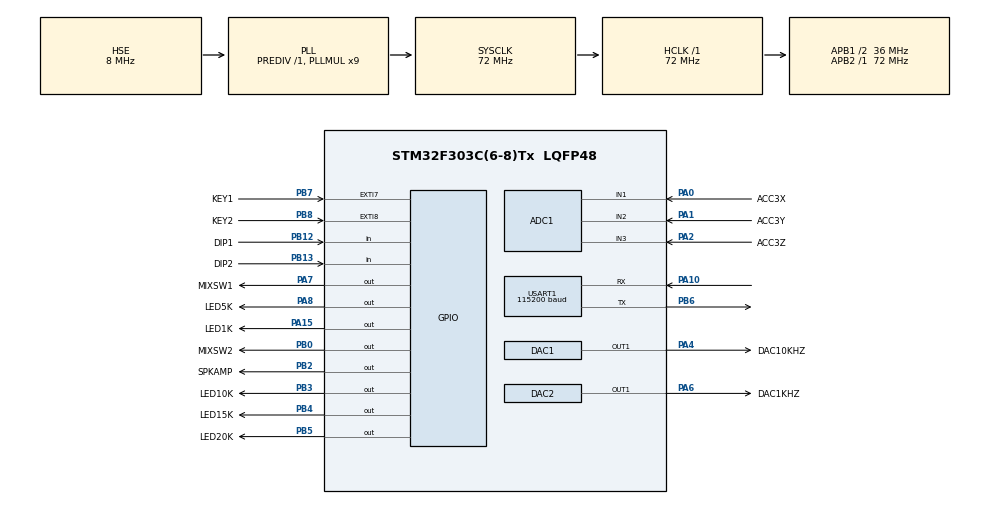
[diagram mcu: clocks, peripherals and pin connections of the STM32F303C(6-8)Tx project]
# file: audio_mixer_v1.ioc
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ADC1.Channel-0\#ChannelRegularConversion=ADC_CHANNEL_1
ADC1.Channel-1\#ChannelRegularConversion=ADC_CHANNEL_2
ADC1.Channel-2\#ChannelRegularConversion=ADC_CHANNEL_3
ADC1.ContinuousConvMode=ENABLE
ADC1.DMAContinuousRequests=DISABLE
ADC1.EOCSelection=ADC_EOC_SINGLE_CONV
ADC1.ExternalTrigConv=ADC_SOFTWARE_START
ADC1.NbrOfConversion=3
ADC1.NbrOfConversionFlag=1
ADC1.Offset-0\#ChannelRegularConversion=0
ADC1.Offset-1\#ChannelRegularConversion=0
ADC1.Offset-2\#ChannelRegularConversion=0
ADC1.OffsetNumber-0\#ChannelRegularConversion=ADC_OFFSET_NONE
ADC1.OffsetNumber-1\#ChannelRegularConversion=ADC_OFFSET_NONE
ADC1.OffsetNumber-2\#ChannelRegularConversion=ADC_OFFSET_NONE
ADC1.Rank-0\#ChannelRegularConversion=1
ADC1.Rank-1\#ChannelRegularConversion=2
ADC1.Rank-2\#ChannelRegularConversion=3
ADC1.SamplingTime-0\#ChannelRegularConversion=ADC_SAMPLETIME_1CYCLE_5
ADC1.SamplingTime-1\#ChannelRegularConversion=ADC_SAMPLETIME_1CYCLE_5
ADC1.SamplingTime-2\#ChannelRegularConversion=ADC_SAMPLETIME_1CYCLE_5
ADC1.SamplingTimeOPAMP-1\#ChannelRegularConversion=ADC_SAMPLETIME_61CYCLES_5
ADC1.SamplingTimeOPAMP-2\#ChannelRegularConversion=ADC_SAMPLETIME_61CYCLES_5
ADC1.SubFamily=STM32F303x8
ADC1.master=1
DAC1.DAC_Trigger=DAC_TRIGGER_T2_TRGO
DAC2.DAC_Trigger=DAC_TRIGGER_T2_TRGO
Dma.ADC1.2.Direction=DMA_PERIPH_TO_MEMORY
Dma.ADC1.2.Instance=DMA1_Channel1
Dma.ADC1.2.MemDataAlignment=DMA_MDATAALIGN_HALFWORD
Dma.ADC1.2.MemInc=DMA_MINC_ENABLE
Dma.ADC1.2.Mode=DMA_NORMAL
Dma.ADC1.2.PeriphDataAlignment=DMA_PDATAALIGN_HALFWORD
Dma.ADC1.2.PeriphInc=DMA_PINC_DISABLE
Dma.ADC1.2.Priority=DMA_PRIORITY_LOW
Dma.DAC1_CH1.0.Direction=DMA_MEMORY_TO_PERIPH
Dma.DAC1_CH1.0.Instance=DMA1_Channel3
Dma.DAC1_CH1.0.MemDataAlignment=DMA_MDATAALIGN_HALFWORD
Dma.DAC1_CH1.0.MemInc=DMA_MINC_ENABLE
Dma.DAC1_CH1.0.Mode=DMA_CIRCULAR
Dma.DAC1_CH1.0.PeriphDataAlignment=DMA_PDATAALIGN_HALFWORD
Dma.DAC1_CH1.0.PeriphInc=DMA_PINC_DISABLE
Dma.DAC1_CH1.0.Priority=DMA_PRIORITY_LOW
Dma.DAC2_CH1.1.Direction=DMA_MEMORY_TO_PERIPH
Dma.DAC2_CH1.1.Instance=DMA1_Channel5
Dma.DAC2_CH1.1.MemDataAlignment=DMA_MDATAALIGN_HALFWORD
Dma.DAC2_CH1.1.MemInc=DMA_MINC_ENABLE
Dma.DAC2_CH1.1.Mode=DMA_CIRCULAR
Dma.DAC2_CH1.1.PeriphDataAlignment=DMA_PDATAALIGN_HALFWORD
Dma.DAC2_CH1.1.PeriphInc=DMA_PINC_DISABLE
Dma.DAC2_CH1.1.Priority=DMA_PRIORITY_LOW
Dma.Request0=DAC1_CH1
Dma.Request1=DAC2_CH1
Dma.Request2=ADC1
IWDG.Prescaler=IWDG_PRESCALER_32
IWDG.Reload=2500
IWDG.Window=2500
Mcu.Family=STM32F3
Mcu.Name=STM32F303C(6-8)Tx
Mcu.Package=LQFP48
NVIC.DMA1_Channel1_IRQn=true\:0\:0\:false\:false\:true\:false\:true
NVIC.DMA1_Channel3_IRQn=true\:0\:0\:false\:false\:true\:false\:true
NVIC.DMA1_Channel5_IRQn=true\:0\:0\:false\:false\:true\:false\:true
NVIC.EXTI9_5_IRQn=true\:0\:0\:false\:false\:true\:true\:true
NVIC.PriorityGroup=NVIC_PRIORITYGROUP_4
NVIC.TIM3_IRQn=true\:0\:0\:false\:false\:true\:true\:true
NVIC.USART1_IRQn=true\:0\:0\:false\:false\:true\:true\:true
PA0.GPIO_Label=ACC3X
PA0.Mode=IN1-Single-Ended
PA0.Signal=ADC1_IN1
PA1.GPIO_Label=ACC3Y
PA1.Mode=IN2-Single-Ended
PA1.Signal=ADC1_IN2
PA10.Mode=Asynchronous
PA10.Signal=USART1_RX
PA13.Mode=Serial_Wire
PA13.Signal=SYS_JTMS-SWDIO
PA14.Mode=Serial_Wire
PA14.Signal=SYS_JTCK-SWCLK
PA15.GPIO_Label=LED1K
PA15.Signal=GPIO_Output
PA2.GPIO_Label=ACC3Z
PA2.Mode=IN3-Single-Ended
PA2.Signal=ADC1_IN3
PA4.GPIO_Label=DAC10KHZ
PA4.Signal=COMP_DAC11_group
PA6.GPIO_Label=DAC1KHZ
PA6.Signal=COMP_DAC21_group
PA7.GPIO_Label=MIXSW1
PA7.Signal=GPIO_Output
PA8.GPIO_Label=LED5K
PA8.Signal=GPIO_Output
PB0.GPIO_Label=MIXSW2
PB0.Signal=GPIO_Output
PB12.GPIO_Label=DIP1
PB12.Signal=GPIO_Input
PB13.GPIO_Label=DIP2
PB13.Signal=GPIO_Input
PB2.GPIO_Label=SPKAMP
PB2.PinState=GPIO_PIN_SET
PB2.Signal=GPIO_Output
PB3.GPIO_Label=LED10K
PB3.Signal=GPIO_Output
PB4.GPIO_Label=LED15K
PB4.PinState=GPIO_PIN_RESET
PB4.Signal=GPIO_Output
PB5.GPIO_Label=LED20K
PB5.Signal=GPIO_Output
PB6.Mode=Asynchronous
PB6.Signal=USART1_TX
PB7.GPIO_Label=KEY1
PB7.GPIO_ModeDefaultEXTI=GPIO_MODE_IT_RISING_FALLING
PB7.GPIO_PuPd=GPIO_PULLDOWN
PB7.Signal=GPXTI7
PB8.GPIO_Label=KEY2
PB8.GPIO_ModeDefaultEXTI=GPIO_MODE_IT_RISING_FALLING
PB8.GPIO_PuPd=GPIO_PULLDOWN
PB8.Signal=GPXTI8
PF0\ /\ OSC_IN.Mode=HSE-External-Oscillator
PF0\ /\ OSC_IN.Signal=RCC_OSC_IN
PF1\ /\ OSC_OUT.Mode=HSE-External-Oscillator
PF1\ /\ OSC_OUT.Signal=RCC_OSC_OUT
ProjectManager.HeapSize=0x200
ProjectManager.StackSize=0x400
ProjectManager.TargetToolchain=STM32CubeIDE
RCC.AHBFreq_Value=72000000
RCC.APB1CLKDivider=RCC_HCLK_DIV2
RCC.APB1Freq_Value=36000000
RCC.APB1TimFreq_Value=72000000
RCC.APB2Freq_Value=72000000
RCC.APB2TimFreq_Value=72000000
RCC.CortexFreq_Value=72000000
RCC.HCLKFreq_Value=72000000
RCC.HSE_VALUE=8000000
RCC.HSI_VALUE=8000000
RCC.LSE_VALUE=32768
RCC.PLLMUL=RCC_PLL_MUL9
RCC.PLLSourceVirtual=RCC_PLLSOURCE_HSE
RCC.SYSCLKFreq_VALUE=72000000
RCC.SYSCLKSourceVirtual=RCC_SYSCLKSOURCE_PLLCLK
SH.COMP_DAC11_group.0=DAC1_OUT1,DAC_OUT1
SH.COMP_DAC21_group.0=DAC2_OUT1,Switch_Enable_OUT1
TIM2.Period=72-1
TIM2.TIM_MasterOutputTrigger=TIM_TRGO_UPDATE
TIM3.Period=1000-1
TIM3.Prescaler=720-1
TIM3.TIM_MasterOutputTrigger=TIM_TRGO_UPDATE
USART1.BaudRate=115200
USART1.VirtualMode-Asynchronous=VM_ASYNC
VP_IWDG_VS_IWDG.Mode=IWDG_Activate
VP_TIM2_VS_ClockSourceINT.Mode=Internal
VP_TIM3_VS_ClockSourceINT.Mode=Internal
board=custom

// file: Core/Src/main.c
/* USER CODE BEGIN Header */
/**
  ******************************************************************************
  * @file           : main.c
  * @brief          : Main program body
  ******************************************************************************
  * @attention
  *
  * <h2><center>&copy; Copyright (c) 2021 STMicroelectronics.
  * All rights reserved.</center></h2>
  *
  * This software component is licensed by ST under BSD 3-Clause license,
  * the "License"; You may not use this file except in compliance with the
  * License. You may obtain a copy of the License at:
  *                        opensource.org/licenses/BSD-3-Clause
  *
  ******************************************************************************
  */
/* USER CODE END Header */
#include "main.h"

/* USER CODE BEGIN Includes */
#include <stdbool.h>
#include <stdlib.h>
#include "waves.h"

/* USER CODE END Includes */

/* USER CODE BEGIN PTD */
typedef enum {
  TASK_INIT = 0,
  TASK_IDLE,

}task_t;
typedef struct {
  task_t task;
  uint8_t dipSw;
  bool txUart;
  bool adcCplt;
}main_app_t;

enum {
  DIPSW_5K = 0b00,
  DIPSW_10K = 0b10,
  DIPSW_15K = 0b01,
  DIPSW_20K = 0b11,
};

/* USER CODE END PTD */

ADC_HandleTypeDef hadc1;
DMA_HandleTypeDef hdma_adc1;

DAC_HandleTypeDef hdac1;
DAC_HandleTypeDef hdac2;
DMA_HandleTypeDef hdma_dac1_ch1;
DMA_HandleTypeDef hdma_dac2_ch1;

IWDG_HandleTypeDef hiwdg;

TIM_HandleTypeDef htim2;
TIM_HandleTypeDef htim3;

UART_HandleTypeDef huart1;

/* USER CODE BEGIN PV */
static main_app_t app = {
  .task = TASK_INIT,
  .dipSw = 0x00,
  .txUart = false,
  .adcCplt = false,
};

uint16_t ADC_DEFAULT[3] = {0,};
uint16_t XYZ_OFFSET[3] = {0, 0, 707};
uint16_t XYZ_GAIN[3] = {32, 32, 32};
uint16_t adcValue[3];
int16_t adcBuf[3];
uint8_t tx[32];

/* USER CODE END PV */

void SystemClock_Config(void);
static void MX_GPIO_Init(void);
static void MX_DMA_Init(void);
static void MX_DAC1_Init(void);
static void MX_DAC2_Init(void);
static void MX_TIM2_Init(void);
static void MX_IWDG_Init(void);
static void MX_USART1_UART_Init(void);
static void MX_ADC1_Init(void);
static void MX_TIM3_Init(void);

/* USER CODE BEGIN 0 */
void ledIndicate(void)
{
  HAL_Delay(200);
  for (int i = 0; i < 4; i++) {
    HAL_GPIO_TogglePin(LED1K_GPIO_Port, LED1K_Pin);
    HAL_GPIO_TogglePin(LED5K_GPIO_Port, LED5K_Pin);
    HAL_GPIO_TogglePin(LED10K_GPIO_Port, LED10K_Pin);
    HAL_GPIO_TogglePin(LED15K_GPIO_Port, LED15K_Pin);
    HAL_GPIO_TogglePin(LED20K_GPIO_Port, LED20K_Pin);
    HAL_Delay(200);
  }
}

uint8_t getDipSw(void)
{
  uint8_t ret;
  ret = HAL_GPIO_ReadPin(DIP1_GPIO_Port, DIP1_Pin) != GPIO_PIN_RESET ? 0x02 : 0x00;
  ret |= HAL_GPIO_ReadPin(DIP2_GPIO_Port, DIP2_Pin) != GPIO_PIN_RESET ? 0x01 : 0x00;
  return ret;
}

void updateDipSw(void)
{
  HAL_DAC_Stop_DMA(&hdac1, DAC1_CHANNEL_1);
  switch (app.dipSw) {
    case DIPSW_5K:
      HAL_DAC_Start_DMA(&hdac1, DAC1_CHANNEL_1, (uint32_t*)sine_5khz, SINE_5KHZ_NUM, DAC_ALIGN_12B_R);
    break;
    case DIPSW_10K:
      HAL_DAC_Start_DMA(&hdac1, DAC1_CHANNEL_1, (uint32_t*)sine_10khz, SINE_10KHZ_NUM, DAC_ALIGN_12B_R);
    break;
    case DIPSW_15K:
      HAL_DAC_Start_DMA(&hdac1, DAC1_CHANNEL_1, (uint32_t*)sine_15khz, SINE_15KHZ_NUM, DAC_ALIGN_12B_R);
    break;
    case DIPSW_20K:
      HAL_DAC_Start_DMA(&hdac1, DAC1_CHANNEL_1, (uint32_t*)sine_20khz, SINE_20KHZ_NUM, DAC_ALIGN_12B_R);
    break;
  }
}

void adcDataProcessing(int16_t* buf)
{
  static int16_t prvBuf[3] = {0,};

  buf[0] -= 1862;
  buf[1] -= 1862;
  buf[2] -= 1862;

  for (int i = 0; i < 3; i++) {
    // buf[i] = buf[i] - ADC_DEFAULT[i];
    // buf[i] = buf[i] * XYZ_GAIN[i];

    // buf[i] = (15 * prvBuf[i] + buf[i]) >> 4;
    buf[i] = prvBuf[i] + (0.1 * (buf[i] - prvBuf[i]));
    prvBuf[i] = buf[i];
  }
}

#define SMPL 256
void updateADCDefault(void)
{
  uint32_t tmp[3] = {0,};
  uint16_t xymean;
  ADC_DEFAULT[0] = 0;
  ADC_DEFAULT[1] = 0;
  ADC_DEFAULT[2] = 0;
  for (int i = 0; i < SMPL; i++) {
    HAL_ADC_Start_DMA(&hadc1, (uint32_t*)adcValue, 3);
    while (app.adcCplt != true);
    app.adcCplt = false;

    tmp[0] += adcBuf[0];
    tmp[1] += adcBuf[1];
    tmp[2] += adcBuf[2];
  }
  ADC_DEFAULT[0] = (uint16_t)(tmp[0] / SMPL);
  ADC_DEFAULT[1] = (uint16_t)(tmp[1] / SMPL);
  ADC_DEFAULT[2] = (uint16_t)(tmp[2] / SMPL);

  xymean = (uint16_t)((ADC_DEFAULT[0] + ADC_DEFAULT[1]) / 2);
  ADC_DEFAULT[2] -= abs(ADC_DEFAULT[2]-xymean);

  // ADC_DEFAULT[0] += XYZ_OFFSET[0];
  // ADC_DEFAULT[1] += XYZ_OFFSET[1];
  // ADC_DEFAULT[2] += XYZ_OFFSET[2];
}

int intBuf2asciiBuf(int16_t* iBuf, uint8_t* aBuf)
{
  int i = 0;
  int a = 0;
  int16_t iTmp;

  for (i = 1; i < 2; i++) {
    if (iBuf[i] < 0) {
      aBuf[a++] = '-';
      iTmp = -1 * iBuf[i];
    } else {
      aBuf[a++] = ' ';
      iTmp = iBuf[i];
    }
    aBuf[a++] = ((iTmp % 10000) / 1000) + '0';
    aBuf[a++] = ((iTmp % 1000) / 100) + '0';
    aBuf[a++] = ((iTmp % 100) / 10) + '0';
    aBuf[a++] = (iTmp % 10) + '0';
    aBuf[a++] = ',';
  }
  aBuf[a++] = '\n';
  // aBuf[a++] = '\r';

  return a;
}

/* USER CODE END 0 */

int main(void)
{
  /* USER CODE BEGIN 1 */
  int len = 0;

  /* USER CODE END 1 */

  /* MCU Configuration--------------------------------------------------------*/

  /* Reset of all peripherals, Initializes the Flash interface and the Systick. */
  HAL_Init();

  /* Configure the system clock */
  SystemClock_Config();

  /* Initialize all configured peripherals */
  MX_GPIO_Init();
  MX_DMA_Init();
  MX_DAC1_Init();
  MX_DAC2_Init();
  MX_TIM2_Init();
  MX_IWDG_Init();
  MX_USART1_UART_Init();
  MX_ADC1_Init();
  MX_TIM3_Init();

  /* Infinite loop */
  while (1)
  {

    /* USER CODE BEGIN 3 */
    switch (app.task) {
      case TASK_INIT:
        ledIndicate();

        app.dipSw = getDipSw();
        updateDipSw();
        // HAL_DAC_Start(&hdac1, DAC1_CHANNEL_2);
        HAL_DAC_Start_DMA(&hdac2, DAC2_CHANNEL_1, (uint32_t*)sine_1khz, SINE_1KHZ_NUM, DAC_ALIGN_12B_R);

        // HAL_ADC_Start_IT(&hadc1);
        updateADCDefault();
        HAL_ADC_Start_DMA(&hadc1, (uint32_t*)adcValue, 3);

        HAL_TIM_Base_Start(&htim2);
        HAL_TIM_Base_Start_IT(&htim3);
        app.task = TASK_IDLE;
      break;
      case TASK_IDLE:
        if (app.dipSw != getDipSw()) {
          app.dipSw = getDipSw();
          updateDipSw();
        }
        if (app.txUart) {
          adcDataProcessing(adcBuf);
          len = intBuf2asciiBuf(adcBuf, tx);

          HAL_UART_Transmit(&huart1, tx, len, 100);
          app.txUart = false;

          HAL_ADC_Start_DMA(&hadc1, (uint32_t*)adcValue, 3);
        }
        HAL_Delay(1);
      break;
    }
    HAL_IWDG_Refresh(&hiwdg);
  }
  /* USER CODE END 3 */
}

void SystemClock_Config(void)
{
  RCC_OscInitTypeDef RCC_OscInitStruct = {0};
  RCC_ClkInitTypeDef RCC_ClkInitStruct = {0};
  RCC_PeriphCLKInitTypeDef PeriphClkInit = {0};

  /** Initializes the RCC Oscillators according to the specified parameters
  * in the RCC_OscInitTypeDef structure.
  */
  RCC_OscInitStruct.OscillatorType = RCC_OSCILLATORTYPE_LSI|RCC_OSCILLATORTYPE_HSE;
  RCC_OscInitStruct.HSEState = RCC_HSE_ON;
  RCC_OscInitStruct.HSEPredivValue = RCC_HSE_PREDIV_DIV1;
  RCC_OscInitStruct.HSIState = RCC_HSI_ON;
  RCC_OscInitStruct.LSIState = RCC_LSI_ON;
  RCC_OscInitStruct.PLL.PLLState = RCC_PLL_ON;
  RCC_OscInitStruct.PLL.PLLSource = RCC_PLLSOURCE_HSE;
  RCC_OscInitStruct.PLL.PLLMUL = RCC_PLL_MUL9;
  if (HAL_RCC_OscConfig(&RCC_OscInitStruct) != HAL_OK)
  {
    Error_Handler();
  }
  /** Initializes the CPU, AHB and APB buses clocks
  */
  RCC_ClkInitStruct.ClockType = RCC_CLOCKTYPE_HCLK|RCC_CLOCKTYPE_SYSCLK
                              |RCC_CLOCKTYPE_PCLK1|RCC_CLOCKTYPE_PCLK2;
  RCC_ClkInitStruct.SYSCLKSource = RCC_SYSCLKSOURCE_PLLCLK;
  RCC_ClkInitStruct.AHBCLKDivider = RCC_SYSCLK_DIV1;
  RCC_ClkInitStruct.APB1CLKDivider = RCC_HCLK_DIV2;
  RCC_ClkInitStruct.APB2CLKDivider = RCC_HCLK_DIV1;

  if (HAL_RCC_ClockConfig(&RCC_ClkInitStruct, FLASH_LATENCY_2) != HAL_OK)
  {
    Error_Handler();
  }
  PeriphClkInit.PeriphClockSelection = RCC_PERIPHCLK_USART1|RCC_PERIPHCLK_ADC12;
  PeriphClkInit.Usart1ClockSelection = RCC_USART1CLKSOURCE_PCLK1;
  PeriphClkInit.Adc12ClockSelection = RCC_ADC12PLLCLK_DIV1;
  if (HAL_RCCEx_PeriphCLKConfig(&PeriphClkInit) != HAL_OK)
  {
    Error_Handler();
  }
}

static void MX_ADC1_Init(void)
{

  ADC_MultiModeTypeDef multimode = {0};
  ADC_ChannelConfTypeDef sConfig = {0};

  /** Common config
  */
  hadc1.Instance = ADC1;
  hadc1.Init.ClockPrescaler = ADC_CLOCK_ASYNC_DIV1;
  hadc1.Init.Resolution = ADC_RESOLUTION_12B;
  hadc1.Init.ScanConvMode = ADC_SCAN_ENABLE;
  hadc1.Init.ContinuousConvMode = ENABLE;
  hadc1.Init.DiscontinuousConvMode = DISABLE;
  hadc1.Init.ExternalTrigConvEdge = ADC_EXTERNALTRIGCONVEDGE_NONE;
  hadc1.Init.ExternalTrigConv = ADC_SOFTWARE_START;
  hadc1.Init.DataAlign = ADC_DATAALIGN_RIGHT;
  hadc1.Init.NbrOfConversion = 3;
  hadc1.Init.DMAContinuousRequests = DISABLE;
  hadc1.Init.EOCSelection = ADC_EOC_SINGLE_CONV;
  hadc1.Init.LowPowerAutoWait = DISABLE;
  hadc1.Init.Overrun = ADC_OVR_DATA_OVERWRITTEN;
  if (HAL_ADC_Init(&hadc1) != HAL_OK)
  {
    Error_Handler();
  }
  /** Configure the ADC multi-mode
  */
  multimode.Mode = ADC_MODE_INDEPENDENT;
  if (HAL_ADCEx_MultiModeConfigChannel(&hadc1, &multimode) != HAL_OK)
  {
    Error_Handler();
  }
  /** Configure Regular Channel
  */
  sConfig.Channel = ADC_CHANNEL_1;
  sConfig.Rank = ADC_REGULAR_RANK_1;
  sConfig.SingleDiff = ADC_SINGLE_ENDED;
  sConfig.SamplingTime = ADC_SAMPLETIME_1CYCLE_5;
  sConfig.OffsetNumber = ADC_OFFSET_NONE;
  sConfig.Offset = 0;
  if (HAL_ADC_ConfigChannel(&hadc1, &sConfig) != HAL_OK)
  {
    Error_Handler();
  }
  /** Configure Regular Channel
  */
  sConfig.Channel = ADC_CHANNEL_2;
  sConfig.Rank = ADC_REGULAR_RANK_2;
  if (HAL_ADC_ConfigChannel(&hadc1, &sConfig) != HAL_OK)
  {
    Error_Handler();
  }
  /** Configure Regular Channel
  */
  sConfig.Channel = ADC_CHANNEL_3;
  sConfig.Rank = ADC_REGULAR_RANK_3;
  if (HAL_ADC_ConfigChannel(&hadc1, &sConfig) != HAL_OK)
  {
    Error_Handler();
  }

}

static void MX_DAC1_Init(void)
{

  DAC_ChannelConfTypeDef sConfig = {0};

  /** DAC Initialization
  */
  hdac1.Instance = DAC1;
  if (HAL_DAC_Init(&hdac1) != HAL_OK)
  {
    Error_Handler();
  }
  /** DAC channel OUT1 config
  */
  sConfig.DAC_Trigger = DAC_TRIGGER_T2_TRGO;
  sConfig.DAC_OutputBuffer = DAC_OUTPUTBUFFER_ENABLE;
  if (HAL_DAC_ConfigChannel(&hdac1, &sConfig, DAC_CHANNEL_1) != HAL_OK)
  {
    Error_Handler();
  }

}

static void MX_DAC2_Init(void)
{

  DAC_ChannelConfTypeDef sConfig = {0};

  /** DAC Initialization
  */
  hdac2.Instance = DAC2;
  if (HAL_DAC_Init(&hdac2) != HAL_OK)
  {
    Error_Handler();
  }
  /** DAC channel OUT1 config
  */
  sConfig.DAC_Trigger = DAC_TRIGGER_T2_TRGO;
  sConfig.DAC_OutputSwitch = DAC_OUTPUTSWITCH_ENABLE;
  if (HAL_DAC_ConfigChannel(&hdac2, &sConfig, DAC_CHANNEL_1) != HAL_OK)
  {
    Error_Handler();
  }

}

static void MX_IWDG_Init(void)
{

  hiwdg.Instance = IWDG;
  hiwdg.Init.Prescaler = IWDG_PRESCALER_32;
  hiwdg.Init.Window = 2500;
  hiwdg.Init.Reload = 2500;
  if (HAL_IWDG_Init(&hiwdg) != HAL_OK)
  {
    Error_Handler();
  }

}

static void MX_TIM2_Init(void)
{

  TIM_ClockConfigTypeDef sClockSourceConfig = {0};
  TIM_MasterConfigTypeDef sMasterConfig = {0};

  htim2.Instance = TIM2;
  htim2.Init.Prescaler = 0;
  htim2.Init.CounterMode = TIM_COUNTERMODE_UP;
  htim2.Init.Period = 72-1;
  htim2.Init.ClockDivision = TIM_CLOCKDIVISION_DIV1;
  htim2.Init.AutoReloadPreload = TIM_AUTORELOAD_PRELOAD_DISABLE;
  if (HAL_TIM_Base_Init(&htim2) != HAL_OK)
  {
    Error_Handler();
  }
  sClockSourceConfig.ClockSource = TIM_CLOCKSOURCE_INTERNAL;
  if (HAL_TIM_ConfigClockSource(&htim2, &sClockSourceConfig) != HAL_OK)
  {
    Error_Handler();
  }
  sMasterConfig.MasterOutputTrigger = TIM_TRGO_UPDATE;
  sMasterConfig.MasterSlaveMode = TIM_MASTERSLAVEMODE_DISABLE;
  if (HAL_TIMEx_MasterConfigSynchronization(&htim2, &sMasterConfig) != HAL_OK)
  {
    Error_Handler();
  }

}

static void MX_TIM3_Init(void)
{

  TIM_ClockConfigTypeDef sClockSourceConfig = {0};
  TIM_MasterConfigTypeDef sMasterConfig = {0};

  htim3.Instance = TIM3;
  htim3.Init.Prescaler = 720-1;
  htim3.Init.CounterMode = TIM_COUNTERMODE_UP;
  htim3.Init.Period = 1000-1;
  htim3.Init.ClockDivision = TIM_CLOCKDIVISION_DIV1;
  htim3.Init.AutoReloadPreload = TIM_AUTORELOAD_PRELOAD_DISABLE;
  if (HAL_TIM_Base_Init(&htim3) != HAL_OK)
  {
    Error_Handler();
  }
  sClockSourceConfig.ClockSource = TIM_CLOCKSOURCE_INTERNAL;
  if (HAL_TIM_ConfigClockSource(&htim3, &sClockSourceConfig) != HAL_OK)
  {
    Error_Handler();
  }
  sMasterConfig.MasterOutputTrigger = TIM_TRGO_UPDATE;
  sMasterConfig.MasterSlaveMode = TIM_MASTERSLAVEMODE_DISABLE;
  if (HAL_TIMEx_MasterConfigSynchronization(&htim3, &sMasterConfig) != HAL_OK)
  {
    Error_Handler();
  }

}

static void MX_USART1_UART_Init(void)
{

  huart1.Instance = USART1;
  huart1.Init.BaudRate = 115200;
  huart1.Init.WordLength = UART_WORDLENGTH_8B;
  huart1.Init.StopBits = UART_STOPBITS_1;
  huart1.Init.Parity = UART_PARITY_NONE;
  huart1.Init.Mode = UART_MODE_TX_RX;
  huart1.Init.HwFlowCtl = UART_HWCONTROL_NONE;
  huart1.Init.OverSampling = UART_OVERSAMPLING_16;
  huart1.Init.OneBitSampling = UART_ONE_BIT_SAMPLE_DISABLE;
  huart1.AdvancedInit.AdvFeatureInit = UART_ADVFEATURE_NO_INIT;
  if (HAL_UART_Init(&huart1) != HAL_OK)
  {
    Error_Handler();
  }

}

static void MX_DMA_Init(void)
{

  /* DMA controller clock enable */
  __HAL_RCC_DMA1_CLK_ENABLE();

  /* DMA interrupt init */
  /* DMA1_Channel1_IRQn interrupt configuration */
  HAL_NVIC_SetPriority(DMA1_Channel1_IRQn, 0, 0);
  HAL_NVIC_EnableIRQ(DMA1_Channel1_IRQn);
  /* DMA1_Channel3_IRQn interrupt configuration */
  HAL_NVIC_SetPriority(DMA1_Channel3_IRQn, 0, 0);
  HAL_NVIC_EnableIRQ(DMA1_Channel3_IRQn);
  /* DMA1_Channel5_IRQn interrupt configuration */
  HAL_NVIC_SetPriority(DMA1_Channel5_IRQn, 0, 0);
  HAL_NVIC_EnableIRQ(DMA1_Channel5_IRQn);

}

static void MX_GPIO_Init(void)
{
  GPIO_InitTypeDef GPIO_InitStruct = {0};

  /* GPIO Ports Clock Enable */
  __HAL_RCC_GPIOC_CLK_ENABLE();
  __HAL_RCC_GPIOF_CLK_ENABLE();
  __HAL_RCC_GPIOA_CLK_ENABLE();
  __HAL_RCC_GPIOB_CLK_ENABLE();

  /*Configure GPIO pin Output Level */
  HAL_GPIO_WritePin(GPIOA, MIXSW1_Pin|LED5K_Pin|LED1K_Pin, GPIO_PIN_RESET);

  /*Configure GPIO pin Output Level */
  HAL_GPIO_WritePin(GPIOB, MIXSW2_Pin|LED10K_Pin|LED15K_Pin|LED20K_Pin, GPIO_PIN_RESET);

  /*Configure GPIO pin Output Level */
  HAL_GPIO_WritePin(SPKAMP_GPIO_Port, SPKAMP_Pin, GPIO_PIN_SET);

  /*Configure GPIO pins : PC13 PC14 PC15 */
  GPIO_InitStruct.Pin = GPIO_PIN_13|GPIO_PIN_14|GPIO_PIN_15;
  GPIO_InitStruct.Mode = GPIO_MODE_ANALOG;
  GPIO_InitStruct.Pull = GPIO_NOPULL;
  HAL_GPIO_Init(GPIOC, &GPIO_InitStruct);

  /*Configure GPIO pins : PA3 PA5 PA9 PA11
                           PA12 */
  GPIO_InitStruct.Pin = GPIO_PIN_3|GPIO_PIN_5|GPIO_PIN_9|GPIO_PIN_11
                          |GPIO_PIN_12;
  GPIO_InitStruct.Mode = GPIO_MODE_ANALOG;
  GPIO_InitStruct.Pull = GPIO_NOPULL;
  HAL_GPIO_Init(GPIOA, &GPIO_InitStruct);

  /*Configure GPIO pins : MIXSW1_Pin LED5K_Pin LED1K_Pin */
  GPIO_InitStruct.Pin = MIXSW1_Pin|LED5K_Pin|LED1K_Pin;
  GPIO_InitStruct.Mode = GPIO_MODE_OUTPUT_PP;
  GPIO_InitStruct.Pull = GPIO_NOPULL;
  GPIO_InitStruct.Speed = GPIO_SPEED_FREQ_LOW;
  HAL_GPIO_Init(GPIOA, &GPIO_InitStruct);

  /*Configure GPIO pins : MIXSW2_Pin SPKAMP_Pin LED10K_Pin LED15K_Pin
                           LED20K_Pin */
  GPIO_InitStruct.Pin = MIXSW2_Pin|SPKAMP_Pin|LED10K_Pin|LED15K_Pin
                          |LED20K_Pin;
  GPIO_InitStruct.Mode = GPIO_MODE_OUTPUT_PP;
  GPIO_InitStruct.Pull = GPIO_NOPULL;
  GPIO_InitStruct.Speed = GPIO_SPEED_FREQ_LOW;
  HAL_GPIO_Init(GPIOB, &GPIO_InitStruct);

  /*Configure GPIO pins : PB1 PB10 PB11 PB14
                           PB15 PB9 */
  GPIO_InitStruct.Pin = GPIO_PIN_1|GPIO_PIN_10|GPIO_PIN_11|GPIO_PIN_14
                          |GPIO_PIN_15|GPIO_PIN_9;
  GPIO_InitStruct.Mode = GPIO_MODE_ANALOG;
  GPIO_InitStruct.Pull = GPIO_NOPULL;
  HAL_GPIO_Init(GPIOB, &GPIO_InitStruct);

  /*Configure GPIO pins : DIP1_Pin DIP2_Pin */
  GPIO_InitStruct.Pin = DIP1_Pin|DIP2_Pin;
  GPIO_InitStruct.Mode = GPIO_MODE_INPUT;
  GPIO_InitStruct.Pull = GPIO_NOPULL;
  HAL_GPIO_Init(GPIOB, &GPIO_InitStruct);

  /*Configure GPIO pins : KEY1_Pin KEY2_Pin */
  GPIO_InitStruct.Pin = KEY1_Pin|KEY2_Pin;
  GPIO_InitStruct.Mode = GPIO_MODE_IT_RISING_FALLING;
  GPIO_InitStruct.Pull = GPIO_PULLDOWN;
  HAL_GPIO_Init(GPIOB, &GPIO_InitStruct);

  /* EXTI interrupt init*/
  HAL_NVIC_SetPriority(EXTI9_5_IRQn, 0, 0);
  HAL_NVIC_EnableIRQ(EXTI9_5_IRQn);

}

/* USER CODE BEGIN 4 */
void HAL_GPIO_EXTI_Callback(uint16_t GPIO_Pin)
{
  GPIO_PinState level, nlevel;
  switch (GPIO_Pin) {
    case KEY1_Pin:
      level = HAL_GPIO_ReadPin(KEY1_GPIO_Port, KEY1_Pin);
      nlevel = (level != GPIO_PIN_RESET) ? GPIO_PIN_RESET : GPIO_PIN_SET;
      HAL_GPIO_WritePin(SPKAMP_GPIO_Port, SPKAMP_Pin, nlevel);
      HAL_GPIO_WritePin(MIXSW1_GPIO_Port, MIXSW1_Pin, level);
      HAL_GPIO_WritePin(LED1K_GPIO_Port, LED1K_Pin, level);
    break;
    case KEY2_Pin:
      level = HAL_GPIO_ReadPin(KEY2_GPIO_Port, KEY2_Pin);
      // nlevel = (level != GPIO_PIN_RESET) ? GPIO_PIN_RESET : GPIO_PIN_SET;
      // HAL_GPIO_WritePin(SPKAMP_GPIO_Port, SPKAMP_Pin, nlevel);
      HAL_GPIO_WritePin(MIXSW2_GPIO_Port, MIXSW2_Pin, level);
      switch (app.dipSw) {
        case DIPSW_5K:
          HAL_GPIO_WritePin(LED5K_GPIO_Port, LED5K_Pin, level);
        break;
        case DIPSW_10K:
          HAL_GPIO_WritePin(LED10K_GPIO_Port, LED10K_Pin, level);
        break;
        case DIPSW_15K:
          HAL_GPIO_WritePin(LED15K_GPIO_Port, LED15K_Pin, level);
        break;
        case DIPSW_20K:
          HAL_GPIO_WritePin(LED20K_GPIO_Port, LED20K_Pin, level);
        break;
      }
    break;
  }
}

void HAL_TIM_PeriodElapsedCallback(TIM_HandleTypeDef *htim)
{
  if (htim->Instance == htim3.Instance) {
    app.txUart = true;
  }
}

void HAL_ADC_ConvCpltCallback(ADC_HandleTypeDef *hadc)
{
  for (int i = 0; i < 3; i++) {
    adcBuf[i] = adcValue[i];
  }
  app.adcCplt = true;

  // adcValue[adcCh%3] = HAL_ADC_GetValue(hadc);
  // adcCh++;
  // HAL_DAC_SetValue(&hdac1, DAC1_CHANNEL_2, DAC_ALIGN_12B_R, adcValue);
  // HAL_ADC_Start_IT(&hadc1);
}

/* USER CODE END 4 */

void Error_Handler(void)
{
  __disable_irq();
  while (1)
  {
  }
}

/************************ (C) COPYRIGHT STMicroelectronics *****END OF FILE****/
